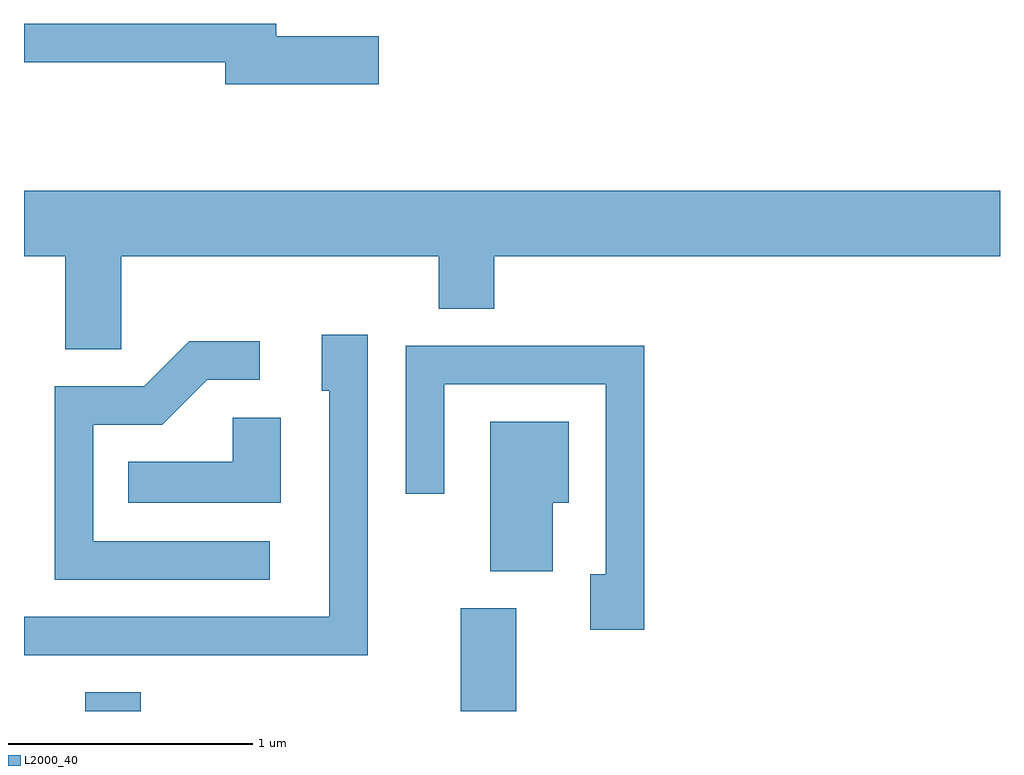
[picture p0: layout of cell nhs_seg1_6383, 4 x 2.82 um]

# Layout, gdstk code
import gdstk
lib = gdstk.Library(unit=1e-6, precision=1e-09)
def R(c, l, rs):  # rectangles x0, y0, x1, y1
    for r in rs: c.add(gdstk.rectangle(r[:2], r[2:], *l))
def P(c, l, *ps):  # polygons
    for p in ps: c.add(gdstk.Polygon(p, *l))
L2000_40 = (2000, 40)

nhs_seg1_6383 = lib.new_cell('nhs_seg1_6383')
R(nhs_seg1_6383, L2000_40, [(377.861,897.712,378.089,897.789), (379.401,897.712,379.629,898.134)])
P(nhs_seg1_6383, L2000_40, [(379.064,900.479),(378.644,900.479),(378.644,900.529),(377.611,900.529),(377.611,900.371),(378.436,900.371),(378.436,900.281),(379.064,900.281)],
  [(378.009,899.576),(379.311,899.576),(379.311,899.361),(379.539,899.361),(379.539,899.576),(381.611,899.576),(381.611,899.844),(377.611,899.844),(377.611,899.576),(377.781,899.576),(377.781,899.196),(378.009,899.196)],
  [(379.019,899.254),(378.831,899.254),(378.831,899.026),(378.861,899.026),(378.861,898.099),(377.611,898.099),(377.611,897.941),(379.019,897.941)],
  [(378.618,898.409),(377.894,898.409),(377.894,898.886),(378.177,898.886),(378.362,899.071),(378.578,899.071),(378.578,899.229),(378.289,899.229),(378.104,899.044),(377.736,899.044),(377.736,898.251),(378.618,898.251)],
  [(380.154,899.209),(379.176,899.209),(379.176,898.603),(379.334,898.603),(379.334,899.051),(379.996,899.051),(379.996,898.274),(379.931,898.274),(379.931,898.046),(380.154,898.046)],
  [(378.664,898.914),(378.466,898.914),(378.466,898.734),(378.038,898.734),(378.038,898.566),(378.664,898.566)],
  [(379.779,898.566),(379.844,898.566),(379.844,898.899),(379.521,898.899),(379.521,898.286),(379.779,898.286)])

lib.write_gds('nhs_seg1_6383.gds')
